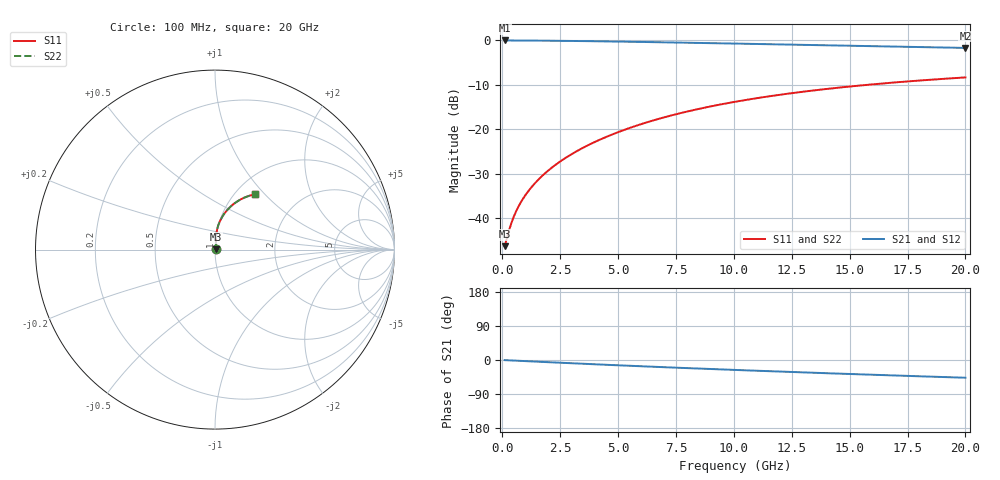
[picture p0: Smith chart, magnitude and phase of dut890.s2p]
! Touchstone file exported from HFSS 2024.1.0
!  File:  C:/UserFiles/LocalFiles/RDL_TSV_Batchsim/temp_RDL_bottom_890_1779865841.aedt
!  Generated:  03:13:15 PM May 27, 2026
!  Design:  RDL_bottom
!  Project:  temp_RDL_bottom_890_1779865841
!  Setup:  Setup1
!  Solution:  Sweep
! Variables:
!  dtsv = 10.80580581um
!  hbump = 3um
!  htsv = 70.97um
!  ldown = 658.24um
!  lrdl = 100um
!  p = 40
!  p1 = 55.84um
!  rhole = 1um
!  t = 450um
!  tdown = 2.06um
!  trdl = 3.915915916um
!  wdown = 27.86um
!  wrdl = 20um
# GHz S MA R 50.000000
! Terminal data exported
! Port[1] = RDL1_T1
! Port[2] = RDL1_T2
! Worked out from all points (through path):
!   200 points, 100 MHz to 20 GHz, reference 50 ohm
!   highest |S21| = -0.04 dB at 100 MHz (marker M1); lowest = -1.7 dB at 20 GHz (marker M2)
!   group delay of S21, straight-line fit = 6.43 ps
!   lowest |S11| = -46.3 dB at 100 MHz (marker M3), VSWR 1.01, Z = 50.4 + j0.197 ohm
!   |S11| at or under -10 dB: start of sweep to 15.79 GHz
!   |S22| runs from -46.3 to -8.4 dB; largest |S21 - S12| = 2e-14
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0.1  0.004851 23.8  0.9955 -0.3  0.9955 -0.3  0.004851 23.8
! Gamma 0 0 0 0
! Port Impedance 50 0 50 0
0.3  0.007421 50.0  0.9951 -0.9  0.9951 -0.9  0.007421 50.0
0.4  0.008941 56.3  0.9948 -1.2  0.9948 -1.2  0.008942 56.3
0.5  0.01048 60.7  0.9945 -1.5  0.9945 -1.5  0.01048 60.7
0.6  0.01201 64.0  0.9942 -1.8  0.9942 -1.8  0.01201 64.0
0.7  0.01355 66.6  0.9939 -2.1  0.9939 -2.1  0.01355 66.6
0.9  0.01663 70.6  0.9933 -2.7  0.9933 -2.7  0.01663 70.6
1.2  0.02135 74.8  0.9923 -3.5  0.9923 -3.5  0.02135 74.8
1.7  0.02952 79.3  0.9903 -5.0  0.9903 -5.0  0.02952 79.3
2.2  0.03809 82.0  0.9879 -6.4  0.9879 -6.4  0.03809 82.0
2.8  0.04889 83.9  0.9844 -8.1  0.9844 -8.1  0.04888 83.9
3.5  0.06216 85.0  0.9796 -10.0  0.9796 -10.0  0.06215 85.0
4.2  0.0761 85.3  0.9742 -11.9  0.9742 -11.9  0.07608 85.3
5  0.09271 85.0  0.9674 -14.0  0.9674 -14.0  0.09269 85.0
5.9  0.1121 84.1  0.9592 -16.3  0.9592 -16.3  0.112 84.1
6.8  0.1319 82.7  0.9506 -18.5  0.9506 -18.5  0.1318 82.7
8.4  0.1674 79.5  0.9349 -22.4  0.9349 -22.4  0.1673 79.5
10.1  0.2046 75.7  0.9179 -26.3  0.9179 -26.3  0.2045 75.7
11.7  0.2383 72.0  0.9018 -29.9  0.9018 -29.9  0.2382 72.0
13.4  0.2722 68.1  0.8848 -33.6  0.8848 -33.6  0.2721 68.0
16.7  0.3317 60.7  0.8522 -40.4  0.8522 -40.4  0.3315 60.6
20  0.3824 53.9  0.8207 -46.8  0.8207 -46.8  0.3821 53.8
